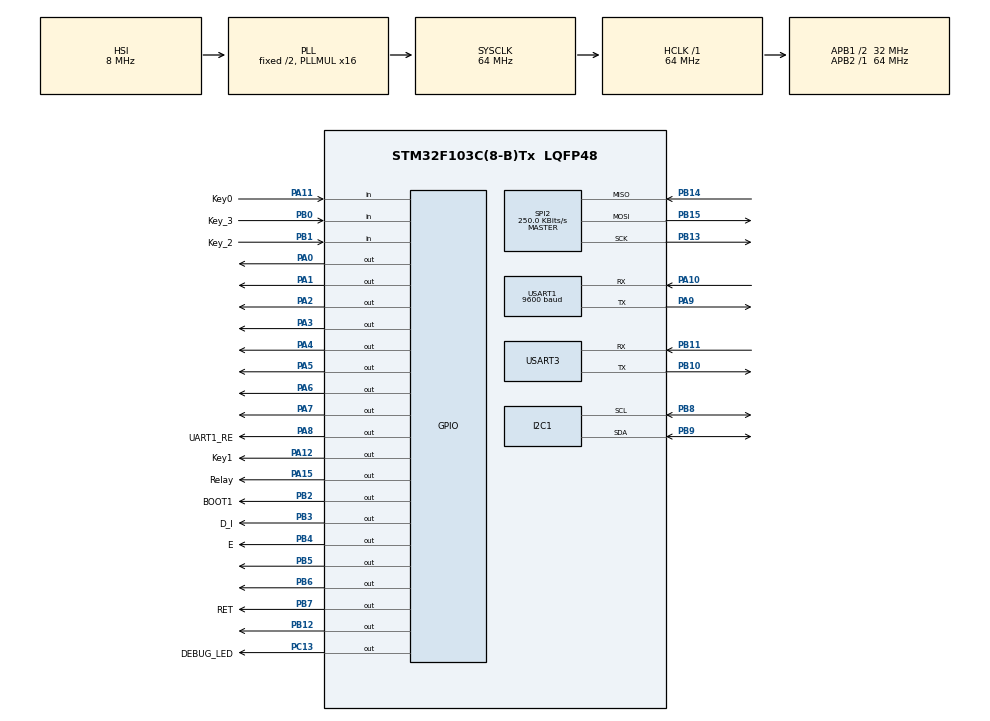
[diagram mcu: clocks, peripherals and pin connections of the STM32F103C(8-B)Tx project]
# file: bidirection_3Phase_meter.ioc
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FREERTOS.Queues01=buttonQueue,8,uint8_t,0,Dynamic,NULL,NULL
FREERTOS.Tasks01=Read_Measuremen,24,128,StartDefaultTask,Default,NULL,Dynamic,NULL,NULL;Display_LCD_Tas,8,256,StartTask02,Default,NULL,Dynamic,NULL,NULL;Read_Button_Tas,40,64,StartTask03,Default,NULL,Dynamic,NULL,NULL;Modbus_Task,32,64,StartTask04,Default,NULL,Dynamic,NULL,NULL
FREERTOS.configMINIMAL_STACK_SIZE=64
FREERTOS.configUSE_NEWLIB_REENTRANT=1
Mcu.Family=STM32F1
Mcu.Name=STM32F103C(8-B)Tx
Mcu.Package=LQFP48
NVIC.PriorityGroup=NVIC_PRIORITYGROUP_4
NVIC.TIM1_UP_IRQn=true\:15\:0\:false\:false\:true\:false\:false\:true\:true
NVIC.TIM3_IRQn=true\:5\:0\:false\:false\:true\:true\:true\:true\:true
NVIC.TimeBase=TIM1_UP_IRQn
NVIC.TimeBaseIP=TIM1
NVIC.USART1_IRQn=true\:5\:0\:false\:false\:true\:true\:true\:true\:true
PA0-WKUP.Signal=GPIO_Output
PA1.Signal=GPIO_Output
PA10.Mode=Asynchronous
PA10.Signal=USART1_RX
PA11.GPIO_Label=Key0
PA11.Signal=GPIO_Input
PA12.GPIO_Label=Key1
PA12.Signal=GPIO_Output
PA13.Mode=Serial_Wire
PA13.Signal=SYS_JTMS-SWDIO
PA14.Mode=Serial_Wire
PA14.Signal=SYS_JTCK-SWCLK
PA15.GPIO_Label=Relay
PA15.Signal=GPIO_Output
PA2.Signal=GPIO_Output
PA3.Signal=GPIO_Output
PA4.Signal=GPIO_Output
PA5.Signal=GPIO_Output
PA6.Signal=GPIO_Output
PA7.Signal=GPIO_Output
PA8.GPIO_Label=UART1_RE
PA8.Signal=GPIO_Output
PA9.Mode=Asynchronous
PA9.Signal=USART1_TX
PB0.GPIO_Label=Key_3
PB0.GPIO_PuPd=GPIO_PULLUP
PB0.Signal=GPIO_Input
PB1.GPIO_Label=Key_2
PB1.GPIO_PuPd=GPIO_PULLUP
PB1.Signal=GPIO_Input
PB10.Mode=Asynchronous
PB10.Signal=USART3_TX
PB11.Mode=Asynchronous
PB11.Signal=USART3_RX
PB12.Signal=GPIO_Output
PB13.Mode=Full_Duplex_Master
PB13.Signal=SPI2_SCK
PB14.Mode=Full_Duplex_Master
PB14.Signal=SPI2_MISO
PB15.Mode=Full_Duplex_Master
PB15.Signal=SPI2_MOSI
PB2.GPIO_Label=BOOT1
PB2.Signal=GPIO_Output
PB3.GPIO_Label=D_I
PB3.Signal=GPIO_Output
PB4.GPIO_Label=E
PB4.Signal=GPIO_Output
PB5.Signal=GPIO_Output
PB6.Signal=GPIO_Output
PB7.GPIO_Label=RET
PB7.Signal=GPIO_Output
PB8.Mode=I2C
PB8.Signal=I2C1_SCL
PB9.Mode=I2C
PB9.Signal=I2C1_SDA
PC13-TAMPER-RTC.GPIO_Label=DEBUG_LED
PC13-TAMPER-RTC.Signal=GPIO_Output
PD0-OSC_IN.Signal=RCC_OSC_IN
PD1-OSC_OUT.Signal=RCC_OSC_OUT
ProjectManager.HeapSize=0x200
ProjectManager.StackSize=0x400
ProjectManager.TargetToolchain=STM32CubeIDE
RCC.AHBFreq_Value=64000000
RCC.APB1CLKDivider=RCC_HCLK_DIV2
RCC.APB1Freq_Value=32000000
RCC.APB1TimFreq_Value=64000000
RCC.APB2Freq_Value=64000000
RCC.APB2TimFreq_Value=64000000
RCC.HCLKFreq_Value=64000000
RCC.PLLMUL=RCC_PLL_MUL16
RCC.SYSCLKFreq_VALUE=64000000
RCC.SYSCLKSource=RCC_SYSCLKSOURCE_PLLCLK
RCC.USBFreq_Value=64000000
SPI2.BaudRatePrescaler=SPI_BAUDRATEPRESCALER_128
SPI2.CalculateBaudRate=250.0 KBits/s
SPI2.Direction=SPI_DIRECTION_2LINES
SPI2.Mode=SPI_MODE_MASTER
SPI2.VirtualType=VM_MASTER
TIM3.Prescaler=3199
USART1.BaudRate=9600
USART1.VirtualMode=VM_ASYNC
USART3.VirtualMode=VM_ASYNC
VP_FREERTOS_VS_CMSIS_V2.Mode=CMSIS_V2
VP_SYS_VS_tim1.Mode=TIM1
VP_TIM3_VS_ClockSourceINT.Mode=Internal
board=custom

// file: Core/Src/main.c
/* USER CODE BEGIN Header */
/**
  ******************************************************************************
  * @file           : main.c
  * @brief          : Main program body
  ******************************************************************************
  * @attention
  *
  * Copyright (c) 2025 STMicroelectronics.
  * All rights reserved.
  *
  * This software is licensed under terms that can be found in the LICENSE file
  * in the root directory of this software component.
  * If no LICENSE file comes with this software, it is provided AS-IS.
  *
  ******************************************************************************
  */
/* USER CODE END Header */
#include "main.h"
#include "cmsis_os.h"

/* USER CODE BEGIN Includes */
#include "tg12864.h"
#include "app.h"
#include <string.h>
#include "mb.h"
#include "mbport.h"
/* USER CODE END Includes */

I2C_HandleTypeDef hi2c1;

SPI_HandleTypeDef hspi2;

TIM_HandleTypeDef htim3;

UART_HandleTypeDef huart1;
UART_HandleTypeDef huart3;

/* Definitions for Read_Measuremen */
osThreadId_t Read_MeasuremenHandle;
const osThreadAttr_t Read_Measuremen_attributes = {
  .name = "Read_Measuremen",
  .stack_size = 128 * 4,
  .priority = (osPriority_t) osPriorityNormal,
};
/* Definitions for Display_LCD_Tas */
osThreadId_t Display_LCD_TasHandle;
const osThreadAttr_t Display_LCD_Tas_attributes = {
  .name = "Display_LCD_Tas",
  .stack_size = 256 * 4,
  .priority = (osPriority_t) osPriorityLow,
};
/* Definitions for Read_Button_Tas */
osThreadId_t Read_Button_TasHandle;
const osThreadAttr_t Read_Button_Tas_attributes = {
  .name = "Read_Button_Tas",
  .stack_size = 64 * 4,
  .priority = (osPriority_t) osPriorityHigh,
};
/* Definitions for Modbus_Task */
osThreadId_t Modbus_TaskHandle;
const osThreadAttr_t Modbus_Task_attributes = {
  .name = "Modbus_Task",
  .stack_size = 64 * 4,
  .priority = (osPriority_t) osPriorityAboveNormal,
};
/* Definitions for buttonQueue */
osMessageQueueId_t buttonQueueHandle;
const osMessageQueueAttr_t buttonQueue_attributes = {
  .name = "buttonQueue"
};
/* USER CODE BEGIN PV */
TG12864_Handle myLCD;
/* USER CODE END PV */

void SystemClock_Config(void);
static void MX_GPIO_Init(void);
static void MX_USART1_UART_Init(void);
static void MX_USART3_UART_Init(void);
static void MX_SPI2_Init(void);
static void MX_TIM3_Init(void);
static void MX_I2C1_Init(void);
void StartDefaultTask(void *argument);
void StartTask02(void *argument);
void StartTask03(void *argument);
void StartTask04(void *argument);

int main(void)
{

  /* MCU Configuration--------------------------------------------------------*/

  /* Reset of all peripherals, Initializes the Flash interface and the Systick. */
  HAL_Init();

  /* Configure the system clock */
  SystemClock_Config();

  /* Initialize all configured peripherals */
  MX_GPIO_Init();
  MX_USART1_UART_Init();
  MX_USART3_UART_Init();
  MX_SPI2_Init();
  MX_TIM3_Init();
  MX_I2C1_Init();
  /* USER CODE BEGIN 2 */
  myLCD.db[0] = (TG12864_Pin){GPIOA, LL_GPIO_PIN_0};
    myLCD.db[1] = (TG12864_Pin){GPIOA, LL_GPIO_PIN_1};
    myLCD.db[2] = (TG12864_Pin){GPIOA, LL_GPIO_PIN_2};
    myLCD.db[3] = (TG12864_Pin){GPIOA, LL_GPIO_PIN_3};
    myLCD.db[4] = (TG12864_Pin){GPIOA, LL_GPIO_PIN_4};
    myLCD.db[5] = (TG12864_Pin){GPIOA, LL_GPIO_PIN_5};
    myLCD.db[6] = (TG12864_Pin){GPIOA, LL_GPIO_PIN_6};
    myLCD.db[7] = (TG12864_Pin){GPIOA, LL_GPIO_PIN_7};

    myLCD.di    = (TG12864_Pin){GPIOB, LL_GPIO_PIN_3};
    myLCD.e     = (TG12864_Pin){GPIOB, LL_GPIO_PIN_4};
    myLCD.cs1   = (TG12864_Pin){GPIOB, LL_GPIO_PIN_5};
    myLCD.cs2   = (TG12864_Pin){GPIOB, LL_GPIO_PIN_6};
    myLCD.rst   = (TG12864_Pin){GPIOB, LL_GPIO_PIN_7};
//    myLCD.rw.port = NULL; // Rất quan trọng nếu bạn nối RW xuống GND
//  TG12864_Init(&myLCD);           // Khởi tạo LCD
    TG12864_Init(&myLCD);           // Khởi tạo LCD

    TG12864_Clear(&myLCD);          // Xóa màn hình
    // Ghi chữ lên màn hình
//      TG12864_DrawString(&myLCD, 0, 1, "Testing...");
    App_Init();
  /* USER CODE END 2 */

  /* Init scheduler */
  osKernelInitialize();

  /* Create the queue(s) */
  /* creation of buttonQueue */
  buttonQueueHandle = osMessageQueueNew (8, sizeof(uint8_t), &buttonQueue_attributes);

  /* Create the thread(s) */
  /* creation of Read_Measuremen */
  Read_MeasuremenHandle = osThreadNew(StartDefaultTask, NULL, &Read_Measuremen_attributes);

  /* creation of Display_LCD_Tas */
  Display_LCD_TasHandle = osThreadNew(StartTask02, NULL, &Display_LCD_Tas_attributes);

  /* creation of Read_Button_Tas */
  Read_Button_TasHandle = osThreadNew(StartTask03, NULL, &Read_Button_Tas_attributes);

  /* creation of Modbus_Task */
  Modbus_TaskHandle = osThreadNew(StartTask04, NULL, &Modbus_Task_attributes);

  /* Start scheduler */
  osKernelStart();

  /* We should never get here as control is now taken by the scheduler */

  /* Infinite loop */
  while (1)
  {

  }
}

void SystemClock_Config(void)
{
  RCC_OscInitTypeDef RCC_OscInitStruct = {0};
  RCC_ClkInitTypeDef RCC_ClkInitStruct = {0};

  /** Initializes the RCC Oscillators according to the specified parameters
  * in the RCC_OscInitTypeDef structure.
  */
  RCC_OscInitStruct.OscillatorType = RCC_OSCILLATORTYPE_HSI;
  RCC_OscInitStruct.HSIState = RCC_HSI_ON;
  RCC_OscInitStruct.HSICalibrationValue = RCC_HSICALIBRATION_DEFAULT;
  RCC_OscInitStruct.PLL.PLLState = RCC_PLL_ON;
  RCC_OscInitStruct.PLL.PLLSource = RCC_PLLSOURCE_HSI_DIV2;
  RCC_OscInitStruct.PLL.PLLMUL = RCC_PLL_MUL16;
  if (HAL_RCC_OscConfig(&RCC_OscInitStruct) != HAL_OK)
  {
    Error_Handler();
  }

  /** Initializes the CPU, AHB and APB buses clocks
  */
  RCC_ClkInitStruct.ClockType = RCC_CLOCKTYPE_HCLK|RCC_CLOCKTYPE_SYSCLK
                              |RCC_CLOCKTYPE_PCLK1|RCC_CLOCKTYPE_PCLK2;
  RCC_ClkInitStruct.SYSCLKSource = RCC_SYSCLKSOURCE_PLLCLK;
  RCC_ClkInitStruct.AHBCLKDivider = RCC_SYSCLK_DIV1;
  RCC_ClkInitStruct.APB1CLKDivider = RCC_HCLK_DIV2;
  RCC_ClkInitStruct.APB2CLKDivider = RCC_HCLK_DIV1;

  if (HAL_RCC_ClockConfig(&RCC_ClkInitStruct, FLASH_LATENCY_2) != HAL_OK)
  {
    Error_Handler();
  }
}

static void MX_I2C1_Init(void)
{

  hi2c1.Instance = I2C1;
  hi2c1.Init.ClockSpeed = 100000;
  hi2c1.Init.DutyCycle = I2C_DUTYCYCLE_2;
  hi2c1.Init.OwnAddress1 = 0;
  hi2c1.Init.AddressingMode = I2C_ADDRESSINGMODE_7BIT;
  hi2c1.Init.DualAddressMode = I2C_DUALADDRESS_DISABLE;
  hi2c1.Init.OwnAddress2 = 0;
  hi2c1.Init.GeneralCallMode = I2C_GENERALCALL_DISABLE;
  hi2c1.Init.NoStretchMode = I2C_NOSTRETCH_DISABLE;
  if (HAL_I2C_Init(&hi2c1) != HAL_OK)
  {
    Error_Handler();
  }

}

static void MX_SPI2_Init(void)
{

  /* SPI2 parameter configuration*/
  hspi2.Instance = SPI2;
  hspi2.Init.Mode = SPI_MODE_MASTER;
  hspi2.Init.Direction = SPI_DIRECTION_2LINES;
  hspi2.Init.DataSize = SPI_DATASIZE_8BIT;
  hspi2.Init.CLKPolarity = SPI_POLARITY_LOW;
  hspi2.Init.CLKPhase = SPI_PHASE_1EDGE;
  hspi2.Init.NSS = SPI_NSS_SOFT;
  hspi2.Init.BaudRatePrescaler = SPI_BAUDRATEPRESCALER_128;
  hspi2.Init.FirstBit = SPI_FIRSTBIT_MSB;
  hspi2.Init.TIMode = SPI_TIMODE_DISABLE;
  hspi2.Init.CRCCalculation = SPI_CRCCALCULATION_DISABLE;
  hspi2.Init.CRCPolynomial = 10;
  if (HAL_SPI_Init(&hspi2) != HAL_OK)
  {
    Error_Handler();
  }

}

static void MX_TIM3_Init(void)
{

  TIM_ClockConfigTypeDef sClockSourceConfig = {0};
  TIM_MasterConfigTypeDef sMasterConfig = {0};

  htim3.Instance = TIM3;
  htim3.Init.Prescaler = 3199;
  htim3.Init.CounterMode = TIM_COUNTERMODE_UP;
  htim3.Init.Period = 65535;
  htim3.Init.ClockDivision = TIM_CLOCKDIVISION_DIV1;
  htim3.Init.AutoReloadPreload = TIM_AUTORELOAD_PRELOAD_DISABLE;
  if (HAL_TIM_Base_Init(&htim3) != HAL_OK)
  {
    Error_Handler();
  }
  sClockSourceConfig.ClockSource = TIM_CLOCKSOURCE_INTERNAL;
  if (HAL_TIM_ConfigClockSource(&htim3, &sClockSourceConfig) != HAL_OK)
  {
    Error_Handler();
  }
  sMasterConfig.MasterOutputTrigger = TIM_TRGO_RESET;
  sMasterConfig.MasterSlaveMode = TIM_MASTERSLAVEMODE_DISABLE;
  if (HAL_TIMEx_MasterConfigSynchronization(&htim3, &sMasterConfig) != HAL_OK)
  {
    Error_Handler();
  }

}

static void MX_USART1_UART_Init(void)
{

  huart1.Instance = USART1;
  huart1.Init.BaudRate = 9600;
  huart1.Init.WordLength = UART_WORDLENGTH_8B;
  huart1.Init.StopBits = UART_STOPBITS_1;
  huart1.Init.Parity = UART_PARITY_NONE;
  huart1.Init.Mode = UART_MODE_TX_RX;
  huart1.Init.HwFlowCtl = UART_HWCONTROL_NONE;
  huart1.Init.OverSampling = UART_OVERSAMPLING_16;
  if (HAL_UART_Init(&huart1) != HAL_OK)
  {
    Error_Handler();
  }

}

static void MX_USART3_UART_Init(void)
{

  huart3.Instance = USART3;
  huart3.Init.BaudRate = 115200;
  huart3.Init.WordLength = UART_WORDLENGTH_8B;
  huart3.Init.StopBits = UART_STOPBITS_1;
  huart3.Init.Parity = UART_PARITY_NONE;
  huart3.Init.Mode = UART_MODE_TX_RX;
  huart3.Init.HwFlowCtl = UART_HWCONTROL_NONE;
  huart3.Init.OverSampling = UART_OVERSAMPLING_16;
  if (HAL_UART_Init(&huart3) != HAL_OK)
  {
    Error_Handler();
  }

}

static void MX_GPIO_Init(void)
{
  LL_GPIO_InitTypeDef GPIO_InitStruct = {0};

  /* GPIO Ports Clock Enable */
  LL_APB2_GRP1_EnableClock(LL_APB2_GRP1_PERIPH_GPIOC);
  LL_APB2_GRP1_EnableClock(LL_APB2_GRP1_PERIPH_GPIOD);
  LL_APB2_GRP1_EnableClock(LL_APB2_GRP1_PERIPH_GPIOA);
  LL_APB2_GRP1_EnableClock(LL_APB2_GRP1_PERIPH_GPIOB);

  /**/
  LL_GPIO_ResetOutputPin(DEBUG_LED_GPIO_Port, DEBUG_LED_Pin);

  /**/
  LL_GPIO_ResetOutputPin(GPIOA, LL_GPIO_PIN_0|LL_GPIO_PIN_1|LL_GPIO_PIN_2|LL_GPIO_PIN_3
                          |LL_GPIO_PIN_4|LL_GPIO_PIN_5|LL_GPIO_PIN_6|LL_GPIO_PIN_7
                          |UART1_RE_Pin|Key1_Pin|Relay_Pin);

  /**/
  LL_GPIO_ResetOutputPin(GPIOB, BOOT1_Pin|LL_GPIO_PIN_12|D_I_Pin|E_Pin
                          |LL_GPIO_PIN_5|LL_GPIO_PIN_6|RET_Pin);

  /**/
  GPIO_InitStruct.Pin = DEBUG_LED_Pin;
  GPIO_InitStruct.Mode = LL_GPIO_MODE_OUTPUT;
  GPIO_InitStruct.Speed = LL_GPIO_SPEED_FREQ_LOW;
  GPIO_InitStruct.OutputType = LL_GPIO_OUTPUT_PUSHPULL;
  LL_GPIO_Init(DEBUG_LED_GPIO_Port, &GPIO_InitStruct);

  /**/
  GPIO_InitStruct.Pin = LL_GPIO_PIN_0|LL_GPIO_PIN_1|LL_GPIO_PIN_2|LL_GPIO_PIN_3
                          |LL_GPIO_PIN_4|LL_GPIO_PIN_5|LL_GPIO_PIN_6|LL_GPIO_PIN_7
                          |UART1_RE_Pin|Key1_Pin|Relay_Pin;
  GPIO_InitStruct.Mode = LL_GPIO_MODE_OUTPUT;
  GPIO_InitStruct.Speed = LL_GPIO_SPEED_FREQ_LOW;
  GPIO_InitStruct.OutputType = LL_GPIO_OUTPUT_PUSHPULL;
  LL_GPIO_Init(GPIOA, &GPIO_InitStruct);

  /**/
  GPIO_InitStruct.Pin = Key_3_Pin|Key_2_Pin;
  GPIO_InitStruct.Mode = LL_GPIO_MODE_INPUT;
  GPIO_InitStruct.Pull = LL_GPIO_PULL_UP;
  LL_GPIO_Init(GPIOB, &GPIO_InitStruct);

  /**/
  GPIO_InitStruct.Pin = BOOT1_Pin|LL_GPIO_PIN_12|D_I_Pin|E_Pin
                          |LL_GPIO_PIN_5|LL_GPIO_PIN_6|RET_Pin;
  GPIO_InitStruct.Mode = LL_GPIO_MODE_OUTPUT;
  GPIO_InitStruct.Speed = LL_GPIO_SPEED_FREQ_LOW;
  GPIO_InitStruct.OutputType = LL_GPIO_OUTPUT_PUSHPULL;
  LL_GPIO_Init(GPIOB, &GPIO_InitStruct);

  /**/
  GPIO_InitStruct.Pin = Key0_Pin;
  GPIO_InitStruct.Mode = LL_GPIO_MODE_FLOATING;
  LL_GPIO_Init(Key0_GPIO_Port, &GPIO_InitStruct);

}

void StartDefaultTask(void *argument)
{
  /* USER CODE BEGIN 5 */
//	const char *taskName = "Running Defalt Task...\r\n";
  /* Infinite loop */
  for(;;)
  {
//	HAL_UART_Transmit(&huart3, (uint8_t*)taskName, strlen(taskName), 50);
	App_ReadMeasurements_Task();

    osDelay(1000);
  }
  /* USER CODE END 5 */
}

void StartTask02(void *argument)
{
  /* USER CODE BEGIN StartTask02 */
//	const char *taskName = "Running Task2...\r\n";
  /* Infinite loop */
  for(;;)
  {
//	HAL_UART_Transmit(&huart3, (uint8_t*)taskName, strlen(taskName), HAL_MAX_DELAY);
//	HAL_GPIO_TogglePin(GPIOC, GPIO_PIN_13);
	App_LCD_Task();
    osDelay(300);
  }
  /* USER CODE END StartTask02 */
}

void StartTask03(void *argument)
{
  /* USER CODE BEGIN StartTask03 */
//	const char *TaskName = "Running Task 3...\r\n";
  /* Infinite loop */
  for(;;)
  {
//	HAL_UART_Transmit(&huart3, (uint8_t*)TaskName, strlen(TaskName), 50);
	App_ReadButton_Task();
    osDelay(50);
  }
  /* USER CODE END StartTask03 */
}

void StartTask04(void *argument)
{
  /* USER CODE BEGIN StartTask04 */
//	App_Modbus_Task();
	eMBErrorCode eStatus = eMBInit(MB_RTU, 1, 1, 9600, MB_PAR_NONE, 1);
	if (eStatus == MB_ENOERR)
	  {
	      eMBEnable(); // Bật Modbus lên
	  }
	else
	    {
	        // NẾU CHẠY VÀO ĐÂY: Có nghĩa là xQueueCreate bị trả về NULL do THIẾU RAM!
	        // Ông phải vào CubeMX -> FreeRTOS -> Tăng TOTAL_HEAP_SIZE lên 8000.
	        for(;;) {
	            osDelay(1000);
	        }
	    }
  /* Infinite loop */
  for(;;)
  {
	eMBPoll();
//    osDelay(100);
  }
  /* USER CODE END StartTask04 */
}

void HAL_TIM_PeriodElapsedCallback(TIM_HandleTypeDef *htim)
{
  if (htim->Instance == TIM1)
  {
    HAL_IncTick();
  }
}

void Error_Handler(void)
{
  __disable_irq();
  while (1)
  {
  }
}
